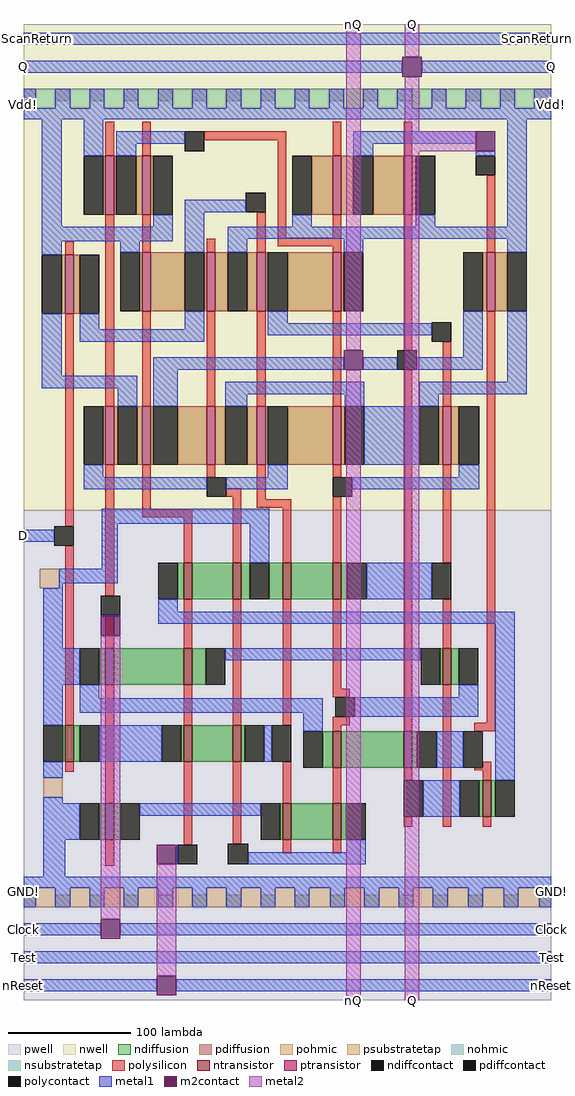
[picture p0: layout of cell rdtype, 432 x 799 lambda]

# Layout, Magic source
magic
tech c035u
<< nwell >>
rect 0 401 432 799
<< pwell >>
rect 0 0 432 401
<< polysilicon >>
rect 67 691 74 719
rect 97 691 104 719
rect 148 704 215 711
rect 34 610 41 621
rect 34 388 41 562
rect 67 486 74 643
rect 97 612 104 643
rect 150 612 157 623
rect 191 612 198 645
rect 208 624 215 704
rect 253 691 260 719
rect 311 691 318 719
rect 253 624 260 643
rect 208 617 260 624
rect 253 612 260 617
rect 97 486 104 564
rect 150 486 157 564
rect 191 486 198 564
rect 253 486 260 564
rect 311 532 318 643
rect 379 612 386 675
rect 34 225 41 372
rect 67 331 74 438
rect 97 402 104 438
rect 150 428 157 438
rect 166 412 178 419
rect 97 395 138 402
rect 131 358 138 395
rect 171 358 178 412
rect 191 410 198 438
rect 253 428 260 438
rect 191 403 219 410
rect 212 358 219 403
rect 253 358 260 412
rect 67 288 74 315
rect 131 288 138 328
rect 34 187 41 195
rect 67 161 74 258
rect 131 225 138 258
rect 171 225 178 328
rect 212 225 219 328
rect 253 255 260 328
rect 253 248 267 255
rect 253 225 267 232
rect 253 220 260 225
rect 311 220 318 516
rect 343 486 350 539
rect 343 358 350 438
rect 343 288 350 328
rect 67 110 74 131
rect 131 127 138 195
rect 171 128 178 195
rect 212 161 219 195
rect 253 161 260 190
rect 311 180 318 190
rect 311 142 318 150
rect 343 142 350 258
rect 379 227 386 564
rect 369 220 386 227
rect 376 190 383 195
rect 369 188 383 190
rect 376 180 383 188
rect 376 142 383 150
rect 212 120 219 131
rect 253 120 260 131
<< ndiffusion >>
rect 126 328 131 358
rect 138 328 171 358
rect 178 328 185 358
rect 201 328 212 358
rect 219 328 253 358
rect 260 328 265 358
rect 62 258 67 288
rect 74 258 131 288
rect 138 258 149 288
rect 32 195 34 225
rect 41 195 46 225
rect 129 195 131 225
rect 138 195 171 225
rect 178 195 181 225
rect 341 258 343 288
rect 350 258 356 288
rect 62 131 67 161
rect 74 131 79 161
rect 245 190 253 220
rect 260 190 311 220
rect 318 190 322 220
rect 210 131 212 161
rect 219 131 253 161
rect 260 131 264 161
rect 373 150 376 180
rect 383 150 386 180
<< pdiffusion >>
rect 65 643 67 691
rect 74 643 76 691
rect 92 643 97 691
rect 104 643 106 691
rect 31 562 34 610
rect 41 562 46 610
rect 236 643 253 691
rect 260 643 270 691
rect 286 643 311 691
rect 318 643 321 691
rect 95 564 97 612
rect 104 564 132 612
rect 148 564 150 612
rect 157 564 167 612
rect 183 564 191 612
rect 198 564 200 612
rect 216 564 253 612
rect 260 564 262 612
rect 376 564 379 612
rect 386 564 396 612
rect 65 438 67 486
rect 74 438 77 486
rect 93 438 97 486
rect 104 438 106 486
rect 126 438 150 486
rect 157 438 165 486
rect 183 438 191 486
rect 198 438 200 486
rect 216 438 253 486
rect 260 438 263 486
rect 340 438 343 486
rect 350 438 356 486
<< pohmic >>
rect 0 76 10 86
rect 26 76 38 86
rect 54 76 66 86
rect 82 76 94 86
rect 110 76 122 86
rect 138 76 150 86
rect 166 76 178 86
rect 194 76 206 86
rect 222 76 234 86
rect 251 76 263 86
rect 279 76 291 86
rect 307 76 319 86
rect 335 76 347 86
rect 364 76 376 86
rect 393 76 405 86
rect 422 76 432 86
<< nohmic >>
rect 0 736 10 746
rect 26 736 38 746
rect 54 736 66 746
rect 82 736 94 746
rect 110 736 122 746
rect 138 736 150 746
rect 166 736 178 746
rect 194 736 206 746
rect 222 736 234 746
rect 250 736 262 746
rect 278 736 290 746
rect 306 736 318 746
rect 334 736 346 746
rect 362 736 374 746
rect 390 736 402 746
rect 418 736 432 746
<< ntransistor >>
rect 131 328 138 358
rect 171 328 178 358
rect 212 328 219 358
rect 253 328 260 358
rect 67 258 74 288
rect 131 258 138 288
rect 34 195 41 225
rect 131 195 138 225
rect 171 195 178 225
rect 343 258 350 288
rect 67 131 74 161
rect 253 190 260 220
rect 311 190 318 220
rect 212 131 219 161
rect 253 131 260 161
rect 376 150 383 180
<< ptransistor >>
rect 67 643 74 691
rect 97 643 104 691
rect 34 562 41 610
rect 253 643 260 691
rect 311 643 318 691
rect 97 564 104 612
rect 150 564 157 612
rect 191 564 198 612
rect 253 564 260 612
rect 379 564 386 612
rect 67 438 74 486
rect 97 438 104 486
rect 150 438 157 486
rect 191 438 198 486
rect 253 438 260 486
rect 343 438 350 486
<< polycontact >>
rect 132 695 148 711
rect 182 645 198 661
rect 370 675 386 691
rect 334 539 350 555
rect 306 516 322 532
rect 25 372 41 388
rect 150 412 166 428
rect 253 412 269 428
rect 63 315 79 331
rect 255 232 271 248
rect 203 195 219 225
rect 334 328 350 358
rect 311 150 327 180
rect 360 190 376 220
rect 126 111 142 127
rect 167 111 184 128
<< ndiffcontact >>
rect 110 328 126 358
rect 185 328 201 358
rect 265 328 281 358
rect 46 258 62 288
rect 149 258 165 288
rect 16 195 32 225
rect 46 195 62 225
rect 113 195 129 225
rect 181 195 197 225
rect 325 258 341 288
rect 356 258 372 288
rect 46 131 62 161
rect 79 131 95 161
rect 229 190 245 220
rect 322 190 338 220
rect 194 131 210 161
rect 264 131 280 161
rect 357 150 373 180
rect 386 150 402 180
<< pdiffcontact >>
rect 49 643 65 691
rect 76 643 92 691
rect 106 643 122 691
rect 15 562 31 610
rect 46 562 62 610
rect 220 643 236 691
rect 270 643 286 691
rect 321 643 337 691
rect 79 564 95 612
rect 132 564 148 612
rect 167 564 183 612
rect 200 564 216 612
rect 262 564 278 612
rect 360 564 376 612
rect 396 564 412 612
rect 49 438 65 486
rect 77 438 93 486
rect 106 438 126 486
rect 165 438 183 486
rect 200 438 216 486
rect 263 438 279 486
rect 324 438 340 486
rect 356 438 373 486
<< psubstratetap >>
rect 13 337 29 353
rect 16 166 32 182
rect 10 76 26 92
rect 38 76 54 92
rect 66 76 82 92
rect 94 76 110 92
rect 122 76 138 92
rect 150 76 166 92
rect 178 76 194 92
rect 206 76 222 92
rect 234 76 251 92
rect 263 76 279 92
rect 291 76 307 92
rect 319 76 335 92
rect 347 76 364 92
rect 376 76 393 92
rect 405 76 422 92
<< nsubstratetap >>
rect 10 730 26 746
rect 38 730 54 746
rect 66 730 82 746
rect 94 730 110 746
rect 122 730 138 746
rect 150 730 166 746
rect 178 730 194 746
rect 206 730 222 746
rect 234 730 250 746
rect 262 730 278 746
rect 290 730 306 746
rect 318 730 334 746
rect 346 730 362 746
rect 374 730 390 746
rect 402 730 418 746
<< metal1 >>
rect 0 782 432 792
rect 0 759 310 769
rect 326 759 432 769
rect 0 730 10 746
rect 26 730 38 746
rect 54 730 66 746
rect 82 730 94 746
rect 110 730 122 746
rect 138 730 150 746
rect 166 730 178 746
rect 194 730 206 746
rect 222 730 234 746
rect 250 730 262 746
rect 278 730 290 746
rect 306 730 318 746
rect 334 730 346 746
rect 362 730 374 746
rect 390 730 402 746
rect 418 730 432 746
rect 0 721 432 730
rect 15 634 31 721
rect 49 691 65 721
rect 76 701 132 711
rect 76 691 92 701
rect 270 701 370 711
rect 270 691 286 701
rect 370 691 386 695
rect 15 633 32 634
rect 106 633 122 643
rect 15 621 122 633
rect 132 645 182 655
rect 15 610 31 621
rect 79 612 95 621
rect 15 511 31 562
rect 132 612 148 645
rect 220 633 236 643
rect 321 633 337 643
rect 396 633 412 721
rect 167 623 412 633
rect 167 612 183 623
rect 262 612 278 623
rect 396 612 412 623
rect 46 549 62 562
rect 132 549 148 564
rect 46 539 148 549
rect 200 554 216 564
rect 200 544 334 554
rect 106 516 262 526
rect 278 516 306 526
rect 360 526 376 564
rect 322 516 376 526
rect 15 501 93 511
rect 77 486 93 501
rect 106 486 126 516
rect 396 506 412 564
rect 165 496 279 506
rect 165 486 183 496
rect 263 486 279 496
rect 324 496 412 506
rect 324 486 340 496
rect 279 438 324 486
rect 49 428 65 438
rect 200 428 216 438
rect 356 428 373 438
rect 49 418 150 428
rect 166 418 216 428
rect 269 418 373 428
rect 64 390 201 402
rect 0 375 25 385
rect 64 353 77 390
rect 185 358 201 390
rect 29 341 77 353
rect 29 337 32 341
rect 16 288 32 337
rect 63 314 79 315
rect 281 328 334 358
rect 110 318 126 328
rect 110 308 402 318
rect 16 258 46 288
rect 165 278 325 288
rect 16 225 32 258
rect 46 247 62 258
rect 356 248 372 258
rect 46 235 245 247
rect 62 195 113 225
rect 197 195 203 225
rect 229 220 245 235
rect 271 232 372 248
rect 16 182 32 195
rect 338 190 360 220
rect 386 180 402 308
rect 16 161 32 166
rect 16 131 46 161
rect 95 151 194 161
rect 327 150 357 180
rect 16 101 34 131
rect 125 111 126 127
rect 264 121 280 131
rect 184 111 280 121
rect 0 92 432 101
rect 0 76 10 92
rect 26 76 38 92
rect 54 76 66 92
rect 82 76 94 92
rect 110 76 122 92
rect 138 76 150 92
rect 166 76 178 92
rect 194 76 206 92
rect 222 76 234 92
rect 251 76 263 92
rect 279 76 291 92
rect 307 76 319 92
rect 335 76 347 92
rect 364 76 376 92
rect 393 76 405 92
rect 422 76 432 92
rect 0 53 63 63
rect 79 53 432 63
rect 0 30 432 40
rect 0 7 109 17
rect 125 7 432 17
<< m2contact >>
rect 310 756 326 772
rect 370 695 386 711
rect 262 516 278 532
rect 63 298 79 314
rect 109 111 125 127
rect 63 50 79 66
rect 109 4 125 20
<< metal2 >>
rect 264 532 276 799
rect 312 772 324 799
rect 312 711 324 756
rect 312 695 370 711
rect 63 66 79 298
rect 109 20 125 111
rect 264 0 276 516
rect 312 0 324 695
<< labels >>
rlabel metal1 0 375 0 385 3 D
rlabel metal1 0 782 0 792 3 ScanReturn
rlabel metal1 0 721 0 746 3 Vdd!
rlabel metal1 0 759 0 769 3 Q
rlabel metal1 0 7 0 17 1 nReset
rlabel metal1 0 53 0 63 1 Clock
rlabel metal1 0 30 0 40 3 Test
rlabel metal1 0 76 0 101 3 GND!
rlabel metal1 432 782 432 792 7 ScanReturn
rlabel metal1 432 759 432 769 7 Q
rlabel metal1 432 76 432 101 7 GND!
rlabel metal1 432 53 432 63 7 Clock
rlabel metal1 432 30 432 40 7 Test
rlabel metal1 432 7 432 17 7 nReset
rlabel metal1 432 721 432 746 7 Vdd!
rlabel metal2 264 0 276 0 1 nQ
rlabel metal2 312 0 324 0 1 Q
rlabel metal2 312 799 324 799 5 Q
rlabel metal2 264 799 276 799 5 nQ
<< end >>
